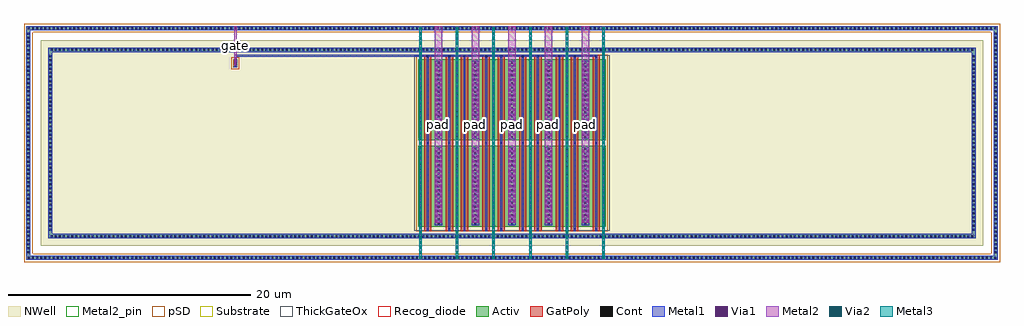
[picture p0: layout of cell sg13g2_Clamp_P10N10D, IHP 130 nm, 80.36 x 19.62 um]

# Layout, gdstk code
import gdstk
lib = gdstk.Library(unit=1e-6, precision=1e-09)
def R(c, l, rs):  # rectangles x0, y0, x1, y1
    for r in rs: c.add(gdstk.rectangle(r[:2], r[2:], *l))
def A(c, l, x, y, w, h, nx, ny, dx, dy):  # array of equal rectangles
    R(c, l, [(x+i*dx, y+j*dy, x+i*dx+w, y+j*dy+h) for i in range(nx) for j in range(ny)])
def P(c, l, *ps):  # polygons
    for p in ps: c.add(gdstk.Polygon(p, *l))
Activ = (1, 0)
GatPoly = (5, 0)
Cont = (6, 0)
Metal1 = (8, 0)
Metal2 = (10, 0)
Metal2_pin = (10, 2)
pSD = (14, 0)
Via1 = (19, 0)
Via2 = (29, 0)
Metal3 = (30, 0)
NWell = (31, 0)
Substrate = (40, 0)
ThickGateOx = (44, 0)
Recog_diode = (99, 31)

sg13g2_guardring_p16000w = lib.new_cell('sg13g2_GuardRing_P16000W3852HFF')
P(sg13g2_guardring_p16000w, Activ, [(-40,-9.63),(-40,9.29),(-39.66,9.29),(-39.66,-9.29),(39.66,-9.29),(39.66,9.29),(-40,9.29),(-40,9.63),(40,9.63),(40,-9.63)])
A(sg13g2_guardring_p16000w, Cont, -39.86, -9.54, 0.16, 0.16, 235, 2, 0.34, 18.92)
A(sg13g2_guardring_p16000w, Cont, -39.91, -9.09, 0.16, 0.16, 1, 54, 0, 0.34)
A(sg13g2_guardring_p16000w, Cont, 39.75, -9.09, 0.16, 0.16, 1, 54, 0, 0.34)
P(sg13g2_guardring_p16000w, Metal1, [(-40,-9.63),(-40,9.29),(-39.66,9.29),(-39.66,-9.29),(39.66,-9.29),(39.66,9.29),(-40,9.29),(-40,9.63),(40,9.63),(40,-9.63)])
P(sg13g2_guardring_p16000w, pSD, [(-40.18,-9.81),(-40.18,9.11),(-39.48,9.11),(-39.48,-9.11),(39.48,-9.11),(39.48,9.11),(-40.18,9.11),(-40.18,9.81),(40.18,9.81),(40.18,-9.81)])
P(sg13g2_guardring_p16000w, Substrate, [(-40,-9.63),(-40,9.29),(-39.66,9.29),(-39.66,-9.29),(39.66,-9.29),(39.66,9.29),(-40,9.29),(-40,9.63),(40,9.63),(40,-9.63)])
sg13g2_guardring_p16000w.add(gdstk.Label('sub!', (-39.83,-9.46), layer=63, texttype=0))

sg13g2_guardring_n15280w = lib.new_cell('sg13g2_GuardRing_N15280W3132HTF')
P(sg13g2_guardring_n15280w, Activ, [(-38.2,-7.83),(-38.2,7.49),(-37.86,7.49),(-37.86,-7.49),(37.86,-7.49),(37.86,7.49),(-38.2,7.49),(-38.2,7.83),(38.2,7.83),(38.2,-7.83)])
A(sg13g2_guardring_n15280w, Cont, -37.99, -7.74, 0.16, 0.16, 224, 2, 0.34, 15.32)
A(sg13g2_guardring_n15280w, Cont, -38.11, -7.22, 0.16, 0.16, 1, 43, 0, 0.34)
A(sg13g2_guardring_n15280w, Cont, 37.95, -7.22, 0.16, 0.16, 1, 43, 0, 0.34)
P(sg13g2_guardring_n15280w, Metal1, [(-38.2,-7.83),(-38.2,7.49),(-37.86,7.49),(-37.86,-7.49),(37.86,-7.49),(37.86,7.49),(-38.2,7.49),(-38.2,7.83),(38.2,7.83),(38.2,-7.83)])
R(sg13g2_guardring_n15280w, NWell, [(-38.82,-8.45,38.82,8.45)])

sg13g2_clamp_p10n10d = lib.new_cell('sg13g2_Clamp_P10N10D')
R(sg13g2_clamp_p10n10d, Activ, [(32.3,2.75,47.7,9.41), (32.3,9.85,47.7,16.51), (17.07,15.87,17.37,16.51)])
R(sg13g2_clamp_p10n10d, GatPoly, [(32.77,2.38,33.37,16.88), (34.55,2.38,35.15,16.88), (35.79,2.38,36.39,16.88), (37.57,2.38,38.17,16.88), (38.81,2.38,39.41,16.88), (40.59,2.38,41.19,16.88), (41.83,2.38,42.43,16.88), (43.61,2.38,44.21,16.88), (44.85,2.38,45.45,16.88), (46.63,2.38,47.23,16.88)])
A(sg13g2_clamp_p10n10d, Cont, 32.99, 2.45, 0.16, 0.16, 1, 3, 0, 7.1)
A(sg13g2_clamp_p10n10d, Cont, 34.77, 2.45, 0.16, 0.16, 1, 3, 0, 7.1)
A(sg13g2_clamp_p10n10d, Cont, 36.01, 2.45, 0.16, 0.16, 1, 3, 0, 7.1)
A(sg13g2_clamp_p10n10d, Cont, 37.79, 2.45, 0.16, 0.16, 1, 3, 0, 7.1)
A(sg13g2_clamp_p10n10d, Cont, 39.03, 2.45, 0.16, 0.16, 1, 3, 0, 7.1)
A(sg13g2_clamp_p10n10d, Cont, 40.81, 2.45, 0.16, 0.16, 1, 3, 0, 7.1)
A(sg13g2_clamp_p10n10d, Cont, 42.05, 2.45, 0.16, 0.16, 1, 3, 0, 7.1)
A(sg13g2_clamp_p10n10d, Cont, 43.83, 2.45, 0.16, 0.16, 1, 3, 0, 7.1)
A(sg13g2_clamp_p10n10d, Cont, 45.07, 2.45, 0.16, 0.16, 1, 3, 0, 7.1)
A(sg13g2_clamp_p10n10d, Cont, 46.85, 2.45, 0.16, 0.16, 1, 3, 0, 7.1)
A(sg13g2_clamp_p10n10d, Cont, 32.37, 2.94, 0.16, 0.16, 11, 19, 1.51, 0.34)
A(sg13g2_clamp_p10n10d, Cont, 32.37, 10.04, 0.16, 0.16, 11, 19, 1.51, 0.34)
R(sg13g2_clamp_p10n10d, Cont, [(17.14,15.94,17.3,16.1), (17.14,16.28,17.3,16.44)])
A(sg13g2_clamp_p10n10d, Metal1, 32.345, 1.8, 0.21, 0.34, 6, 2, 3.02, 15.32)
A(sg13g2_clamp_p10n10d, Metal1, 32.345, 2.86, 0.21, 6.44, 6, 2, 3.02, 7.1)
A(sg13g2_clamp_p10n10d, Metal1, 33.65, 2.86, 0.62, 6.44, 5, 2, 3.02, 7.1)
P(sg13g2_clamp_p10n10d, Metal1, [(32.99,2.37),(32.99,16.73),(17.325,16.73),(17.325,15.86),(17.115,15.86),(17.115,16.89),(47.01,16.89),(47.01,2.37),(46.85,2.37),(46.85,16.73),(45.23,16.73),(45.23,2.37),(45.07,2.37),(45.07,16.73),(43.99,16.73),(43.99,2.37),(43.83,2.37),(43.83,16.73),(42.21,16.73),(42.21,2.37),(42.05,2.37),(42.05,16.73),(40.97,16.73),(40.97,2.37),(40.81,2.37),(40.81,16.73),(39.19,16.73),(39.19,2.37),(39.03,2.37),(39.03,16.73),(37.95,16.73),(37.95,2.37),(37.79,2.37),(37.79,16.73),(36.17,16.73),(36.17,2.37),(36.01,2.37),(36.01,16.73),(34.93,16.73),(34.93,2.37),(34.77,2.37),(34.77,16.73),(33.15,16.73),(33.15,2.37)])
A(sg13g2_clamp_p10n10d, Metal2, 32.35, 0, 0.2, 19.26, 6, 1, 3.02, 0)
A(sg13g2_clamp_p10n10d, Metal2, 33.655, 3.065, 0.61, 16.195, 5, 1, 3.02, 0)
R(sg13g2_clamp_p10n10d, Metal2, [(17.12,16.025,17.32,19.26)])
A(sg13g2_clamp_p10n10d, Metal2_pin, 33.655, 3.065, 0.61, 16.195, 5, 1, 3.02, 0)
R(sg13g2_clamp_p10n10d, Metal2_pin, [(17.12,16.025,17.32,19.26)])
R(sg13g2_clamp_p10n10d, pSD, [(32.12,2.35,47.88,16.91), (16.89,15.69,17.55,16.69)])
A(sg13g2_clamp_p10n10d, Via1, 32.355, 1.875, 0.19, 0.19, 6, 2, 3.02, 15.32)
A(sg13g2_clamp_p10n10d, Via1, 32.355, 3.115, 0.19, 0.19, 1, 15, 0, 0.41)
A(sg13g2_clamp_p10n10d, Via1, 33.66, 3.115, 0.19, 0.19, 1, 15, 0, 0.41)
A(sg13g2_clamp_p10n10d, Via1, 34.07, 3.115, 0.19, 0.19, 3, 15, 1.305, 0.41)
A(sg13g2_clamp_p10n10d, Via1, 37.09, 3.115, 0.19, 0.19, 3, 15, 1.305, 0.41)
A(sg13g2_clamp_p10n10d, Via1, 40.11, 3.115, 0.19, 0.19, 3, 15, 1.305, 0.41)
A(sg13g2_clamp_p10n10d, Via1, 43.13, 3.115, 0.19, 0.19, 3, 15, 1.305, 0.41)
A(sg13g2_clamp_p10n10d, Via1, 46.15, 3.115, 0.19, 0.19, 1, 15, 0, 0.41)
A(sg13g2_clamp_p10n10d, Via1, 47.455, 3.115, 0.19, 0.19, 1, 15, 0, 0.41)
A(sg13g2_clamp_p10n10d, Via1, 32.355, 10.215, 0.19, 0.19, 1, 15, 0, 0.41)
A(sg13g2_clamp_p10n10d, Via1, 33.66, 10.215, 0.19, 0.19, 1, 15, 0, 0.41)
A(sg13g2_clamp_p10n10d, Via1, 34.07, 10.215, 0.19, 0.19, 3, 15, 1.305, 0.41)
A(sg13g2_clamp_p10n10d, Via1, 37.09, 10.215, 0.19, 0.19, 3, 15, 1.305, 0.41)
A(sg13g2_clamp_p10n10d, Via1, 40.11, 10.215, 0.19, 0.19, 3, 15, 1.305, 0.41)
A(sg13g2_clamp_p10n10d, Via1, 43.13, 10.215, 0.19, 0.19, 3, 15, 1.305, 0.41)
A(sg13g2_clamp_p10n10d, Via1, 46.15, 10.215, 0.19, 0.19, 1, 15, 0, 0.41)
A(sg13g2_clamp_p10n10d, Via1, 47.455, 10.215, 0.19, 0.19, 1, 15, 0, 0.41)
R(sg13g2_clamp_p10n10d, Via1, [(17.125,16.075,17.315,16.265), (17.125,16.485,17.315,16.675)])
A(sg13g2_clamp_p10n10d, Via2, 32.355, 0.105, 0.19, 0.19, 6, 47, 3.02, 0.41)
A(sg13g2_clamp_p10n10d, Metal3, 32.35, 0.055, 0.2, 19.15, 6, 1, 3.02, 0)
R(sg13g2_clamp_p10n10d, NWell, [(31.68,2.13,48.32,17.13), (16.45,15.25,17.99,17.13)])
R(sg13g2_clamp_p10n10d, ThickGateOx, [(31.96,2.41,48.04,16.85)])
R(sg13g2_clamp_p10n10d, Recog_diode, [(17.05,15.85,17.39,16.53)])
sg13g2_clamp_p10n10d.add(gdstk.Reference(sg13g2_guardring_p16000w, (40,9.63)))
sg13g2_clamp_p10n10d.add(gdstk.Reference(sg13g2_guardring_n15280w, (40,9.63)))
sg13g2_clamp_p10n10d.add(gdstk.Label('pad', (36.98,11.163), layer=10, texttype=25))
sg13g2_clamp_p10n10d.add(gdstk.Label('pad', (43.02,11.163), layer=10, texttype=25))
sg13g2_clamp_p10n10d.add(gdstk.Label('pad', (46.04,11.163), layer=10, texttype=25))
sg13g2_clamp_p10n10d.add(gdstk.Label('pad', (40,11.163), layer=10, texttype=25))
sg13g2_clamp_p10n10d.add(gdstk.Label('pad', (33.96,11.163), layer=10, texttype=25))
sg13g2_clamp_p10n10d.add(gdstk.Label('gate', (17.22,17.643), layer=10, texttype=25))

lib.write_gds('sg13g2_Clamp_P10N10D.gds')
